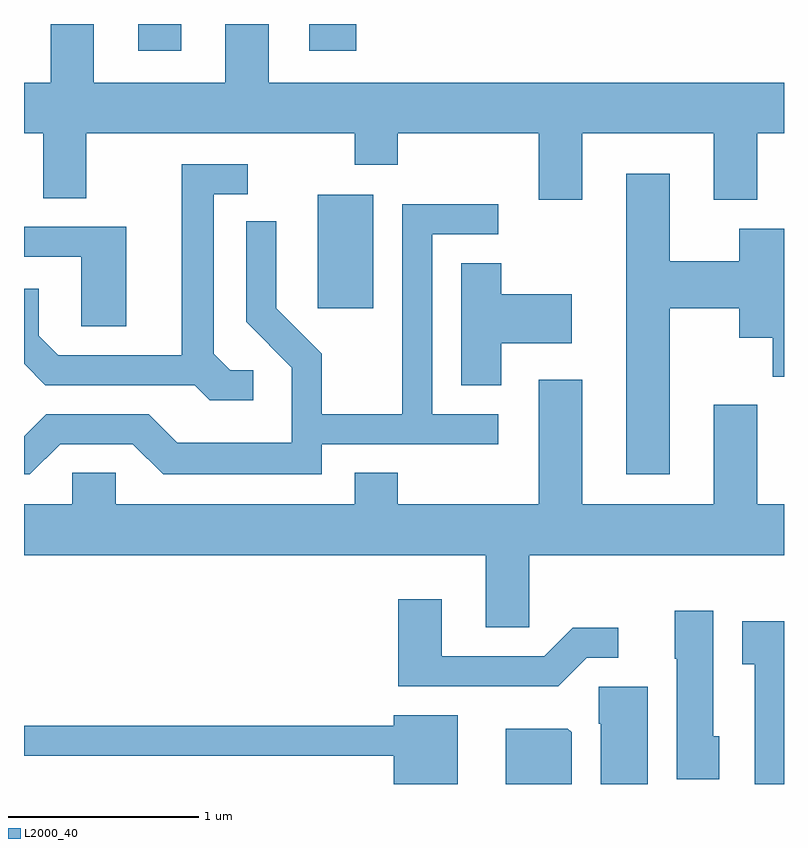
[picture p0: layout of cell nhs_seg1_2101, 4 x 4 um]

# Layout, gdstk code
import gdstk
lib = gdstk.Library(unit=1e-6, precision=1e-09)
def R(c, l, rs):  # rectangles x0, y0, x1, y1
    for r in rs: c.add(gdstk.rectangle(r[:2], r[2:], *l))
def P(c, l, *ps):  # polygons
    for p in ps: c.add(gdstk.Polygon(p, *l))
L2000_40 = (2000, 40)

nhs_seg1_2101 = lib.new_cell('nhs_seg1_2101')
R(nhs_seg1_2101, L2000_40, [(251.156,894.216,251.449,894.814), (250.211,895.571,250.439,895.712), (251.111,895.571,251.359,895.712)])
P(nhs_seg1_2101, L2000_40, [(249.611,895.136),(249.711,895.136),(249.711,894.796),(249.939,894.796),(249.939,895.136),(251.351,895.136),(251.351,894.971),(251.579,894.971),(251.579,895.136),(252.321,895.136),(252.321,894.786),(252.549,894.786),(252.549,895.136),(253.241,895.136),(253.241,894.786),(253.469,894.786),(253.469,895.136),(253.611,895.136),(253.611,895.404),(250.899,895.404),(250.899,895.712),(250.671,895.712),(250.671,895.404),(249.979,895.404),(249.979,895.712),(249.751,895.712),(249.751,895.404),(249.611,895.404)],
  [(250.818,893.889),(250.697,893.889),(250.609,893.977),(250.609,894.816),(250.788,894.816),(250.788,894.974),(250.441,894.974),(250.441,893.969),(249.792,893.969),(249.689,894.072),(249.689,894.318),(249.611,894.318),(249.611,893.924),(249.724,893.811),(250.509,893.811),(250.589,893.731),(250.818,893.731)],
  [(253.009,894.216),(253.376,894.216),(253.376,894.061),(253.551,894.061),(253.551,893.856),(253.611,893.856),(253.611,894.634),(253.376,894.634),(253.376,894.464),(253.009,894.464),(253.009,894.924),(252.781,894.924),(252.781,893.341),(253.009,893.341)],
  [(249.802,893.501),(250.184,893.501),(250.344,893.341),(251.179,893.341),(251.179,893.501),(252.108,893.501),(252.108,893.659),(251.759,893.659),(251.759,894.606),(252.108,894.606),(252.108,894.764),(251.601,894.764),(251.601,893.659),(251.179,893.659),(251.179,893.977),(250.939,894.217),(250.939,894.673),(250.781,894.673),(250.781,894.144),(251.021,893.904),(251.021,893.509),(250.417,893.509),(250.267,893.659),(249.729,893.659),(249.611,893.541),(249.611,893.341),(249.642,893.341)],
  [(250.149,894.644),(249.611,894.644),(249.611,894.486),(249.911,894.486),(249.911,894.121),(250.149,894.121)],
  [(252.124,894.031),(252.494,894.031),(252.494,894.289),(252.124,894.289),(252.124,894.454),(251.911,894.454),(251.911,893.811),(252.124,893.811)],
  [(252.269,892.916),(253.611,892.916),(253.611,893.184),(253.469,893.184),(253.469,893.709),(253.241,893.709),(253.241,893.184),(252.549,893.184),(252.549,893.839),(252.321,893.839),(252.321,893.184),(251.579,893.184),(251.579,893.349),(251.351,893.349),(251.351,893.184),(250.094,893.184),(250.094,893.349),(249.866,893.349),(249.866,893.184),(249.611,893.184),(249.611,892.916),(252.041,892.916),(252.041,892.536),(252.269,892.536)],
  [(252.572,892.376),(252.738,892.376),(252.738,892.534),(252.499,892.534),(252.349,892.384),(251.809,892.384),(251.809,892.684),(251.581,892.684),(251.581,892.226),(252.422,892.226)],
  [(253.269,891.964),(253.239,891.964),(253.239,892.624),(253.036,892.624),(253.036,892.37),(253.046,892.37),(253.046,891.736),(253.269,891.736)],
  [(253.611,892.569),(253.391,892.569),(253.391,892.341),(253.456,892.341),(253.456,891.712),(253.611,891.712)],
  [(252.894,892.224),(252.636,892.224),(252.636,892.03),(252.646,892.03),(252.646,891.712),(252.894,891.712)],
  [(251.894,892.074),(251.556,892.074),(251.556,892.019),(249.611,892.019),(249.611,891.861),(251.556,891.861),(251.556,891.712),(251.894,891.712)],
  [(252.494,891.984),(252.474,892.004),(252.146,892.004),(252.146,891.712),(252.494,891.712)])

lib.write_gds('nhs_seg1_2101.gds')
